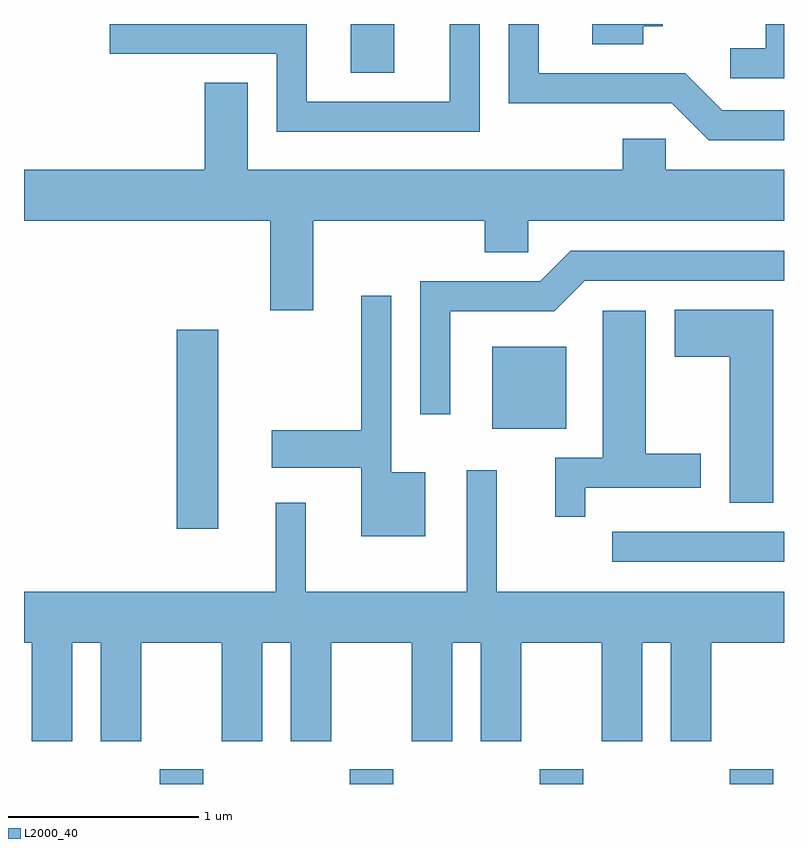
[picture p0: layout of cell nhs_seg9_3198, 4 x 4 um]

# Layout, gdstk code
import gdstk
lib = gdstk.Library(unit=1e-6, precision=1e-09)
def R(c, l, rs):  # rectangles x0, y0, x1, y1
    for r in rs: c.add(gdstk.rectangle(r[:2], r[2:], *l))
def A(c, l, x, y, w, h, nx, ny, dx, dy):  # array of equal rectangles
    R(c, l, [(x+i*dx, y+j*dy, x+i*dx+w, y+j*dy+h) for i in range(nx) for j in range(ny)])
def P(c, l, *ps):  # polygons
    for p in ps: c.add(gdstk.Polygon(p, *l))
L2000_40 = (2000, 40)

nhs_seg9_3198 = lib.new_cell('nhs_seg9_3198')
A(nhs_seg9_3198, L2000_40, 280.326, 1964.432, 0.228, 0.077, 4, 1, 1, 0)
R(nhs_seg9_3198, L2000_40, [(282.708,1965.601,283.611,1965.759), (280.416,1965.776,280.634,1966.824), (282.076,1966.301,282.464,1966.734), (281.331,1968.176,281.559,1968.432)])
P(nhs_seg9_3198, L2000_40, [(282.009,1968.432),(281.851,1968.432),(281.851,1968.024),(281.099,1968.024),(281.099,1968.432),(280.063,1968.432),(280.063,1968.276),(280.941,1968.276),(280.941,1967.866),(282.009,1967.866)],
  [(282.869,1968.421),(282.974,1968.421),(282.974,1968.432),(282.601,1968.432),(282.601,1968.326),(282.869,1968.326)],
  [(283.611,1967.979),(283.287,1967.979),(283.092,1968.174),(282.319,1968.174),(282.319,1968.432),(282.161,1968.432),(282.161,1968.016),(283.019,1968.016),(283.214,1967.821),(283.611,1967.821)],
  [(283.611,1968.432),(283.516,1968.432),(283.516,1968.304),(283.328,1968.304),(283.328,1968.146),(283.611,1968.146)],
  [(281.134,1967.396),(282.036,1967.396),(282.036,1967.231),(282.264,1967.231),(282.264,1967.396),(283.611,1967.396),(283.611,1967.664),(282.989,1967.664),(282.989,1967.829),(282.761,1967.829),(282.761,1967.664),(280.789,1967.664),(280.789,1968.124),(280.561,1968.124),(280.561,1967.664),(279.611,1967.664),(279.611,1967.396),(280.906,1967.396),(280.906,1966.926),(281.134,1966.926)],
  [(281.854,1966.921),(282.402,1966.921),(282.562,1967.081),(283.611,1967.081),(283.611,1967.239),(282.489,1967.239),(282.329,1967.079),(281.696,1967.079),(281.696,1966.378),(281.854,1966.378)],
  [(281.724,1966.074),(281.544,1966.074),(281.544,1967.003),(281.386,1967.003),(281.386,1966.294),(280.916,1966.294),(280.916,1966.096),(281.386,1966.096),(281.386,1965.736),(281.724,1965.736)],
  [(283.554,1966.929),(283.036,1966.929),(283.036,1966.681),(283.326,1966.681),(283.326,1965.911),(283.554,1965.911)],
  [(282.564,1965.991),(283.174,1965.991),(283.174,1966.169),(282.884,1966.169),(282.884,1966.924),(282.656,1966.924),(282.656,1966.149),(282.406,1966.149),(282.406,1965.838),(282.564,1965.838)],
  [(279.864,1965.176),(280.016,1965.176),(280.016,1964.656),(280.229,1964.656),(280.229,1965.176),(280.651,1965.176),(280.651,1964.656),(280.864,1964.656),(280.864,1965.176),(281.016,1965.176),(281.016,1964.656),(281.229,1964.656),(281.229,1965.176),(281.651,1965.176),(281.651,1964.656),(281.864,1964.656),(281.864,1965.176),(282.016,1965.176),(282.016,1964.656),(282.229,1964.656),(282.229,1965.176),(282.651,1965.176),(282.651,1964.656),(282.864,1964.656),(282.864,1965.176),(283.016,1965.176),(283.016,1964.656),(283.229,1964.656),(283.229,1965.176),(283.611,1965.176),(283.611,1965.444),(282.099,1965.444),(282.099,1966.083),(281.941,1966.083),(281.941,1965.444),(281.094,1965.444),(281.094,1965.913),(280.936,1965.913),(280.936,1965.444),(279.611,1965.444),(279.611,1965.176),(279.651,1965.176),(279.651,1964.656),(279.864,1964.656)])

lib.write_gds('nhs_seg9_3198.gds')
